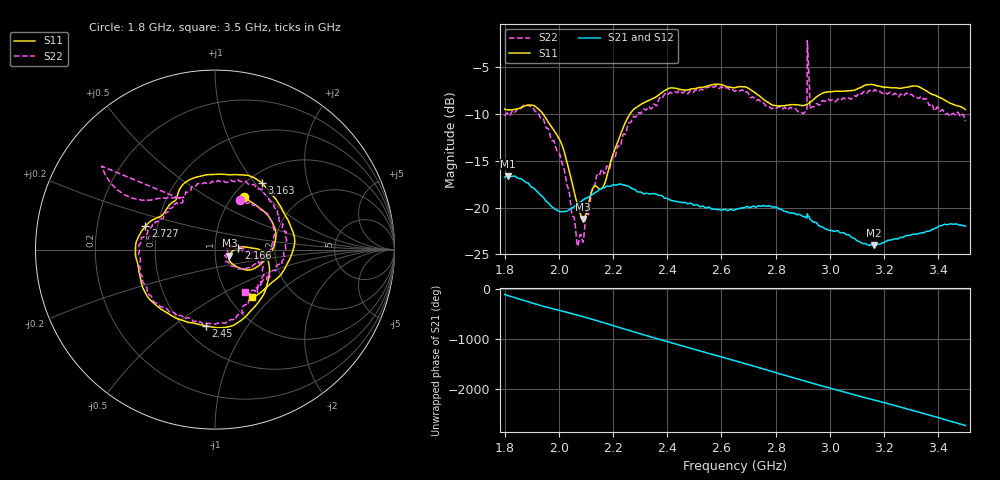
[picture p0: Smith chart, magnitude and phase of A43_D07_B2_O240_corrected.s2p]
! Created with skrf 1.9.0 (http://scikit-rf.org).
# Hz S RI R 50.0
!freq ReS11 ImS11 ReS21 ImS21 ReS12 ImS12 ReS22 ImS22
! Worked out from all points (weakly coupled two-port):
!   1601 points, 1.8 GHz to 3.5 GHz, reference 50 ohm
!   highest |S21| = -16.63 dB at 1.812 GHz (marker M1); lowest = -24.0 dB at 3.162 GHz (marker M2)
!   lowest |S11| = -21.2 dB at 2.09 GHz (marker M3), VSWR 1.19, Z = 58.6 - j3.92 ohm
!   |S11| at or under -10 dB: 1.942 GHz to 2.262 GHz (320.1 MHz wide, 15.2 % of centre)
!   |S22| runs from -24.1 to -2.1 dB; largest |S21 - S12| = 0.0027
!   S11 on the Smith chart (normalised r, x): 1.8 GHz: 1.13, +0.75; 2.166 GHz: 1.30, +0.03; 2.45 GHz: 0.64, -0.66; 2.727 GHz: 0.43, +0.13; 3.163 GHz: 1.15, +1.08; 3.5 GHz: 1.28, -0.75
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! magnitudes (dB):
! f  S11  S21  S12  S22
! 1.8 GHz  -9.5  -16.7  -16.7  -10.2
! 1.812 GHz  -9.5  -16.6  -16.6  -9.9
! 1.885 GHz  -9.1  -17.4  -17.4  -9.0
! 1.942 GHz  -10.0  -18.9  -18.9  -10.5
! 2.011 GHz  -13.3  -20.4  -20.4  -15.3
! 2.067 GHz  -19.5  -19.6  -19.6  -23.8
! 2.084 GHz  -21.0  -19.3  -19.3  -23.2
! 2.09 GHz  -21.2  -19.2  -19.2  -23.6
! 2.13 GHz  -17.7  -18.5  -18.5  -17.9
! 2.166 GHz  -17.7  -17.9  -17.9  -16.3
! 2.259 GHz  -10.2  -17.8  -17.8  -10.9
! 2.367 GHz  -8.0  -18.7  -18.6  -8.6
! 2.45 GHz  -7.4  -19.5  -19.4  -7.6
! 2.65 GHz  -7.2  -20.3  -20.2  -7.6
! 2.727 GHz  -7.8  -20.0  -20.0  -8.5
! 2.903 GHz  -9.1  -21.0  -21.0  -9.9
! 2.925 GHz  -8.8  -21.1  -21.1  -7.5
! 2.934 GHz  -8.6  -21.4  -21.4  -9.2
! 3.162 GHz  -6.8  -24.0  -24.0  -7.5
! 3.163 GHz  -6.9  -24.0  -24.0  -7.4
! 3.217 GHz  -7.1  -23.5  -23.5  -7.7
! 3.5 GHz  -9.5  -22.0  -22.0  -10.7
